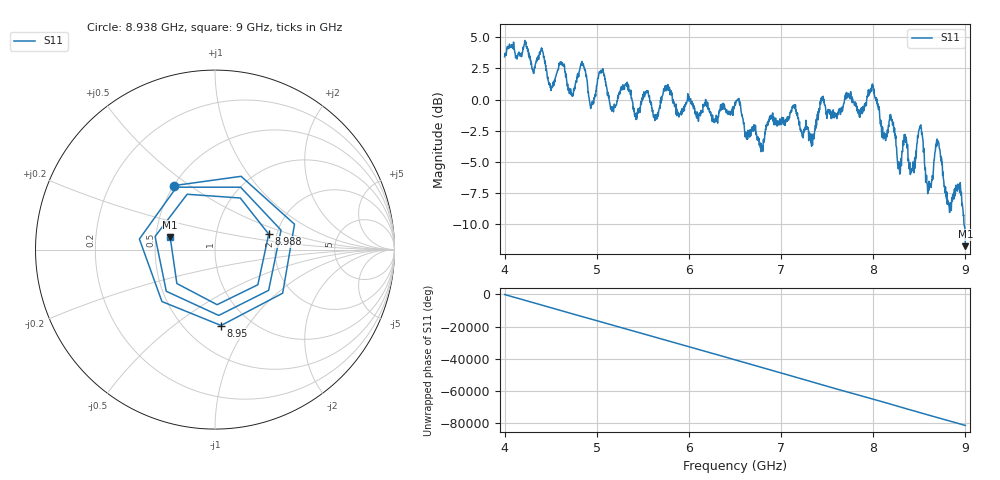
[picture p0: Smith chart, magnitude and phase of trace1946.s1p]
! Created with skrf 1.8.0 (http://scikit-rf.org).
# Hz S RI R 50.0
!freq ReS11 ImS11
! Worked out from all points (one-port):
!   1601 points, 4 GHz to 9 GHz, reference 50 ohm
!   lowest |S11| = -11.8 dB at 9 GHz (marker M1), VSWR 1.70, Z = 29.8 + j4.31 ohm
!   |S11| at or under -10 dB: 8.985795 GHz to end of sweep
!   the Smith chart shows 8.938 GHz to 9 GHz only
!   S11 on the Smith chart (normalised r, x): 8.938 GHz: 0.50, +0.43; 8.95 GHz: 0.74, -0.76; 8.988 GHz: 1.81, +0.35; 9 GHz: 0.60, +0.09
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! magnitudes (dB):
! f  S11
! 4 GHz  3.4
! 4.403 GHz  4.0
! 4.512 GHz  0.9
! 4.625 GHz  2.9
! 4.725 GHz  0.4
! 4.853 GHz  2.8
! 4.941 GHz  -0.5
! 5.047 GHz  2.4
! 5.162 GHz  -0.9
! 5.25 GHz  0.4
! 5.875 GHz  -0.9
! 6.5 GHz  -0.2
! 6.788 GHz  -3.8
! 7.125 GHz  -0.6
! 7.338 GHz  -3.1
! 7.444 GHz  0.2
! 7.75 GHz  0.1
! 7.991 GHz  1.3
! 8.281 GHz  -5.4
! 8.375 GHz  -3.9
! 8.516 GHz  -2.0
! 8.594 GHz  -7.3
! 8.7 GHz  -3.3
! 8.812 GHz  -8.2
! 8.938 GHz  -7.4
! 8.95 GHz  -7.4
! 8.988 GHz  -10.1
! 9 GHz  -11.8
